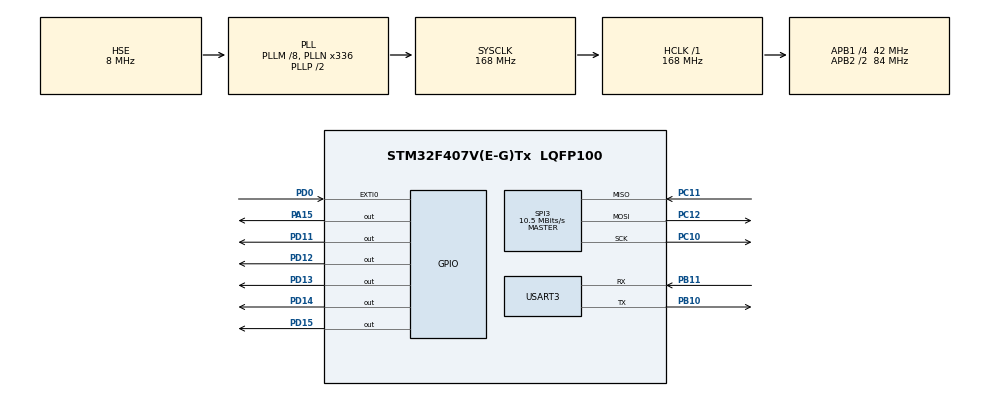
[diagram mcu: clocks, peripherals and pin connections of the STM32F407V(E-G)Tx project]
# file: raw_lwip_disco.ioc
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Mcu.Family=STM32F4
RCC.PLLSourceVirtual=RCC_PLLSOURCE_HSE
PH0-OSC_IN.Signal=RCC_OSC_IN
RCC.CortexFreq_Value=168000000
SPI3.Direction=SPI_DIRECTION_2LINES
SPI3.VirtualType=VM_MASTER
PB10.Mode=Asynchronous
PC10.Signal=SPI3_SCK
PC11.Signal=SPI3_MISO
PC12.Signal=SPI3_MOSI
PC10.Mode=Full_Duplex_Master
RCC.APB1CLKDivider=RCC_HCLK_DIV4
PB11.Signal=USART3_RX
RCC.SYSCLKSource=RCC_SYSCLKSOURCE_PLLCLK
ProjectManager.StackSize=0x400
PD13.Signal=GPIO_Output
PB11.Mode=Asynchronous
ProjectManager.TargetToolchain=TrueSTUDIO
RCC.HCLKFreq_Value=168000000
RCC.APB2TimFreq_Value=168000000
PD0.Signal=GPXTI0
RCC.AHBFreq_Value=168000000
PH0-OSC_IN.Mode=HSE-External-Oscillator
PB10.Signal=USART3_TX
RCC.HSE_VALUE=8000000
PC12.Mode=Full_Duplex_Master
board=STM32F407G-DISC1
RCC.VCOOutputFreq_Value=336000000
NVIC.TIM3_IRQn=true\:0\:0\:false\:false\:true\:true\:true
RCC.APB2Freq_Value=84000000
SPI3.CalculateBaudRate=10.5 MBits/s
SPI3.BaudRatePrescaler=SPI_BAUDRATEPRESCALER_4
PH1-OSC_OUT.Signal=RCC_OSC_OUT
Mcu.Name=STM32F407V(E-G)Tx
PD14.Signal=GPIO_Output
PH1-OSC_OUT.Mode=HSE-External-Oscillator
RCC.48MHZClocksFreq_Value=48000000
NVIC.EXTI0_IRQn=true\:0\:0\:false\:false\:true\:true\:true
RCC.SYSCLKFreq_VALUE=168000000
Mcu.Package=LQFP100
SPI3.Mode=SPI_MODE_MASTER
USART3.VirtualMode=VM_ASYNC
PD11.Signal=GPIO_Output
PD12.Signal=GPIO_Output
PA15.Signal=GPIO_Output
ProjectManager.HeapSize=0x200
PC11.Mode=Full_Duplex_Master
RCC.HSI_VALUE=16000000
VP_TIM4_VS_ClockSourceINT.Mode=Internal
RCC.PLLQ=7
NVIC.PriorityGroup=NVIC_PRIORITYGROUP_0
RCC.APB2CLKDivider=RCC_HCLK_DIV2
RCC.PLLM=8
RCC.PLLN=336
RCC.APB1TimFreq_Value=84000000
NVIC.TIM4_IRQn=true\:0\:0\:false\:false\:true\:true\:true
RCC.APB1Freq_Value=42000000
PD15.Signal=GPIO_Output
VP_TIM3_VS_ClockSourceINT.Mode=Internal

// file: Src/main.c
/* USER CODE BEGIN Header */
/**
  ******************************************************************************
  * @file           : main.c
  * @brief          : Main program body
  ******************************************************************************
  * @attention
  *
  * <h2><center>&copy; Copyright (c) 2020 STMicroelectronics.
  * All rights reserved.</center></h2>
  *
  * This software component is licensed by ST under BSD 3-Clause license,
  * the "License"; You may not use this file except in compliance with the
  * License. You may obtain a copy of the License at:
  *                        opensource.org/licenses/BSD-3-Clause
  *
  ******************************************************************************
  */
/* USER CODE END Header */

#include "main.h"

/* USER CODE BEGIN Includes */
#include "stm32f4xx_hal.h"
#include "lwip/opt.h"
#include "lwip/init.h"
#include "lwip/netif.h"
#include "netif/etharp.h"
#include "lwip/lwip_timers.h"
#include "ethernetif.h"
#include "app_ethernet.h"
#include "tcp_echoserver.h"

/* USER CODE END Includes */

SPI_HandleTypeDef hspi3;

TIM_HandleTypeDef htim3;
TIM_HandleTypeDef htim4;

UART_HandleTypeDef huart3;

/* USER CODE BEGIN PV */
struct netif gnetif;
static void Netif_Config(void);
/* USER CODE END PV */

void SystemClock_Config(void);
static void MX_GPIO_Init(void);
static void MX_SPI3_Init(void);
static void MX_TIM3_Init(void);
static void MX_TIM4_Init(void);
static void MX_USART3_UART_Init(void);

int main(void)
{

  /* MCU Configuration--------------------------------------------------------*/

  /* Reset of all peripherals, Initializes the Flash interface and the Systick. */
  HAL_Init();

  /* Configure the system clock */
  SystemClock_Config();

  /* Initialize all configured peripherals */
  MX_GPIO_Init();
  MX_SPI3_Init();
  MX_TIM3_Init();
  MX_TIM4_Init();
  MX_USART3_UART_Init();
  /* USER CODE BEGIN 2 */
  lwip_init();
  /* Configure the Network interface */
   Netif_Config();

   /* tcp echo server Init */
   tcp_echoserver_init();

   /* Notify user about the network interface config */
   User_notification(&gnetif);
  /* USER CODE END 2 */

  /* Infinite loop */
  /* USER CODE BEGIN WHILE */
  while (1)
  {
	    ethernetif_input(&gnetif);

	    /* Triggers actual ethernet transmission if transmission buffers are not empty */
	    ethernet_transmit();

	    /* Handle timeouts */
	    sys_check_timeouts();
    /* USER CODE END WHILE */

  }
}

void SystemClock_Config(void)
{
  RCC_OscInitTypeDef RCC_OscInitStruct = {0};
  RCC_ClkInitTypeDef RCC_ClkInitStruct = {0};

  /** Configure the main internal regulator output voltage
  */
  __HAL_RCC_PWR_CLK_ENABLE();
  __HAL_PWR_VOLTAGESCALING_CONFIG(PWR_REGULATOR_VOLTAGE_SCALE1);
  /** Initializes the CPU, AHB and APB busses clocks
  */
  RCC_OscInitStruct.OscillatorType = RCC_OSCILLATORTYPE_HSE;
  RCC_OscInitStruct.HSEState = RCC_HSE_ON;
  RCC_OscInitStruct.PLL.PLLState = RCC_PLL_ON;
  RCC_OscInitStruct.PLL.PLLSource = RCC_PLLSOURCE_HSE;
  RCC_OscInitStruct.PLL.PLLM = 8;
  RCC_OscInitStruct.PLL.PLLN = 336;
  RCC_OscInitStruct.PLL.PLLP = RCC_PLLP_DIV2;
  RCC_OscInitStruct.PLL.PLLQ = 7;
  if (HAL_RCC_OscConfig(&RCC_OscInitStruct) != HAL_OK)
  {
    Error_Handler();
  }
  /** Initializes the CPU, AHB and APB busses clocks
  */
  RCC_ClkInitStruct.ClockType = RCC_CLOCKTYPE_HCLK|RCC_CLOCKTYPE_SYSCLK
                              |RCC_CLOCKTYPE_PCLK1|RCC_CLOCKTYPE_PCLK2;
  RCC_ClkInitStruct.SYSCLKSource = RCC_SYSCLKSOURCE_PLLCLK;
  RCC_ClkInitStruct.AHBCLKDivider = RCC_SYSCLK_DIV1;
  RCC_ClkInitStruct.APB1CLKDivider = RCC_HCLK_DIV4;
  RCC_ClkInitStruct.APB2CLKDivider = RCC_HCLK_DIV2;

  if (HAL_RCC_ClockConfig(&RCC_ClkInitStruct, FLASH_LATENCY_5) != HAL_OK)
  {
    Error_Handler();
  }
}

static void MX_SPI3_Init(void)
{

  /* SPI3 parameter configuration*/
  hspi3.Instance = SPI3;
  hspi3.Init.Mode = SPI_MODE_MASTER;
  hspi3.Init.Direction = SPI_DIRECTION_2LINES;
  hspi3.Init.DataSize = SPI_DATASIZE_8BIT;
  hspi3.Init.CLKPolarity = SPI_POLARITY_LOW;
  hspi3.Init.CLKPhase = SPI_PHASE_1EDGE;
  hspi3.Init.NSS = SPI_NSS_SOFT;
  hspi3.Init.BaudRatePrescaler = SPI_BAUDRATEPRESCALER_4;
  hspi3.Init.FirstBit = SPI_FIRSTBIT_MSB;
  hspi3.Init.TIMode = SPI_TIMODE_DISABLE;
  hspi3.Init.CRCCalculation = SPI_CRCCALCULATION_DISABLE;
  hspi3.Init.CRCPolynomial = 10;
  if (HAL_SPI_Init(&hspi3) != HAL_OK)
  {
    Error_Handler();
  }

}

static void MX_TIM3_Init(void)
{

  TIM_ClockConfigTypeDef sClockSourceConfig = {0};
  TIM_MasterConfigTypeDef sMasterConfig = {0};

  htim3.Instance = TIM3;
  htim3.Init.Prescaler = 0;
  htim3.Init.CounterMode = TIM_COUNTERMODE_UP;
  htim3.Init.Period = 0;
  htim3.Init.ClockDivision = TIM_CLOCKDIVISION_DIV1;
  htim3.Init.AutoReloadPreload = TIM_AUTORELOAD_PRELOAD_DISABLE;
  if (HAL_TIM_Base_Init(&htim3) != HAL_OK)
  {
    Error_Handler();
  }
  sClockSourceConfig.ClockSource = TIM_CLOCKSOURCE_INTERNAL;
  if (HAL_TIM_ConfigClockSource(&htim3, &sClockSourceConfig) != HAL_OK)
  {
    Error_Handler();
  }
  sMasterConfig.MasterOutputTrigger = TIM_TRGO_RESET;
  sMasterConfig.MasterSlaveMode = TIM_MASTERSLAVEMODE_DISABLE;
  if (HAL_TIMEx_MasterConfigSynchronization(&htim3, &sMasterConfig) != HAL_OK)
  {
    Error_Handler();
  }

}

static void MX_TIM4_Init(void)
{

  TIM_ClockConfigTypeDef sClockSourceConfig = {0};
  TIM_MasterConfigTypeDef sMasterConfig = {0};

  htim4.Instance = TIM4;
  htim4.Init.Prescaler = 0;
  htim4.Init.CounterMode = TIM_COUNTERMODE_UP;
  htim4.Init.Period = 0;
  htim4.Init.ClockDivision = TIM_CLOCKDIVISION_DIV1;
  htim4.Init.AutoReloadPreload = TIM_AUTORELOAD_PRELOAD_DISABLE;
  if (HAL_TIM_Base_Init(&htim4) != HAL_OK)
  {
    Error_Handler();
  }
  sClockSourceConfig.ClockSource = TIM_CLOCKSOURCE_INTERNAL;
  if (HAL_TIM_ConfigClockSource(&htim4, &sClockSourceConfig) != HAL_OK)
  {
    Error_Handler();
  }
  sMasterConfig.MasterOutputTrigger = TIM_TRGO_RESET;
  sMasterConfig.MasterSlaveMode = TIM_MASTERSLAVEMODE_DISABLE;
  if (HAL_TIMEx_MasterConfigSynchronization(&htim4, &sMasterConfig) != HAL_OK)
  {
    Error_Handler();
  }

}

static void MX_USART3_UART_Init(void)
{

  huart3.Instance = USART3;
  huart3.Init.BaudRate = 115200;
  huart3.Init.WordLength = UART_WORDLENGTH_8B;
  huart3.Init.StopBits = UART_STOPBITS_1;
  huart3.Init.Parity = UART_PARITY_NONE;
  huart3.Init.Mode = UART_MODE_TX_RX;
  huart3.Init.HwFlowCtl = UART_HWCONTROL_NONE;
  huart3.Init.OverSampling = UART_OVERSAMPLING_16;
  if (HAL_UART_Init(&huart3) != HAL_OK)
  {
    Error_Handler();
  }

}

static void MX_GPIO_Init(void)
{
  GPIO_InitTypeDef GPIO_InitStruct = {0};

  /* GPIO Ports Clock Enable */
  __HAL_RCC_GPIOH_CLK_ENABLE();
  __HAL_RCC_GPIOB_CLK_ENABLE();
  __HAL_RCC_GPIOD_CLK_ENABLE();
  __HAL_RCC_GPIOA_CLK_ENABLE();
  __HAL_RCC_GPIOC_CLK_ENABLE();

  /*Configure GPIO pin Output Level */
  HAL_GPIO_WritePin(GPIOD, GPIO_PIN_11|GPIO_PIN_12|GPIO_PIN_13|GPIO_PIN_14
                          |GPIO_PIN_15, GPIO_PIN_RESET);

  /*Configure GPIO pin Output Level */
  HAL_GPIO_WritePin(GPIOA, GPIO_PIN_15, GPIO_PIN_RESET);

  /*Configure GPIO pins : PD11 PD12 PD13 PD14
                           PD15 */
  GPIO_InitStruct.Pin = GPIO_PIN_11|GPIO_PIN_12|GPIO_PIN_13|GPIO_PIN_14
                          |GPIO_PIN_15;
  GPIO_InitStruct.Mode = GPIO_MODE_OUTPUT_PP;
  GPIO_InitStruct.Pull = GPIO_NOPULL;
  GPIO_InitStruct.Speed = GPIO_SPEED_FREQ_LOW;
  HAL_GPIO_Init(GPIOD, &GPIO_InitStruct);

  /*Configure GPIO pin : PA15 */
  GPIO_InitStruct.Pin = GPIO_PIN_15;
  GPIO_InitStruct.Mode = GPIO_MODE_OUTPUT_PP;
  GPIO_InitStruct.Pull = GPIO_NOPULL;
  GPIO_InitStruct.Speed = GPIO_SPEED_FREQ_LOW;
  HAL_GPIO_Init(GPIOA, &GPIO_InitStruct);

  /*Configure GPIO pin : PD0 */
  GPIO_InitStruct.Pin = GPIO_PIN_0;
  GPIO_InitStruct.Mode = GPIO_MODE_IT_RISING;
  GPIO_InitStruct.Pull = GPIO_NOPULL;
  HAL_GPIO_Init(GPIOD, &GPIO_InitStruct);

  /* EXTI interrupt init*/
  HAL_NVIC_SetPriority(EXTI0_IRQn, 0, 0);
  HAL_NVIC_EnableIRQ(EXTI0_IRQn);

}

/* USER CODE BEGIN 4 */
static void Netif_Config(void)
{
  struct ip_addr ipaddr;
  struct ip_addr netmask;
  struct ip_addr gw;

  IP4_ADDR(&ipaddr, IP_ADDR0, IP_ADDR1, IP_ADDR2, IP_ADDR3);
  IP4_ADDR(&netmask, NETMASK_ADDR0, NETMASK_ADDR1 , NETMASK_ADDR2, NETMASK_ADDR3);
  IP4_ADDR(&gw, GW_ADDR0, GW_ADDR1, GW_ADDR2, GW_ADDR3);

  /* add the network interface */
  netif_add(&gnetif, &ipaddr, &netmask, &gw, NULL, &ethernetif_init, &ethernet_input);

  /*  Registers the default network interface */
  netif_set_default(&gnetif);

  if (netif_is_link_up(&gnetif))
  {
    /* When the netif is fully configured this function must be called */
    netif_set_up(&gnetif);
  }
  else
  {
    /* When the netif link is down this function must be called */
    netif_set_down(&gnetif);
  }

  /* Set the link callback function, this function is called on change of link status*/
  netif_set_link_callback(&gnetif, ethernetif_update_config);
}
void HAL_GPIO_EXTI_Callback(uint16_t GPIO_Pin)
{
//  /* Get the IT status register value */
//  if(BSP_IO_ITGetStatus(MII_INT_PIN))
  if (GPIO_Pin == ENC_INT_PIN)
  {
    ethernetif_set_link(&gnetif);
  }
  //BSP_IO_ITClear();
}
/* USER CODE END 4 */

void Error_Handler(void)
{
}

/************************ (C) COPYRIGHT STMicroelectronics *****END OF FILE****/
